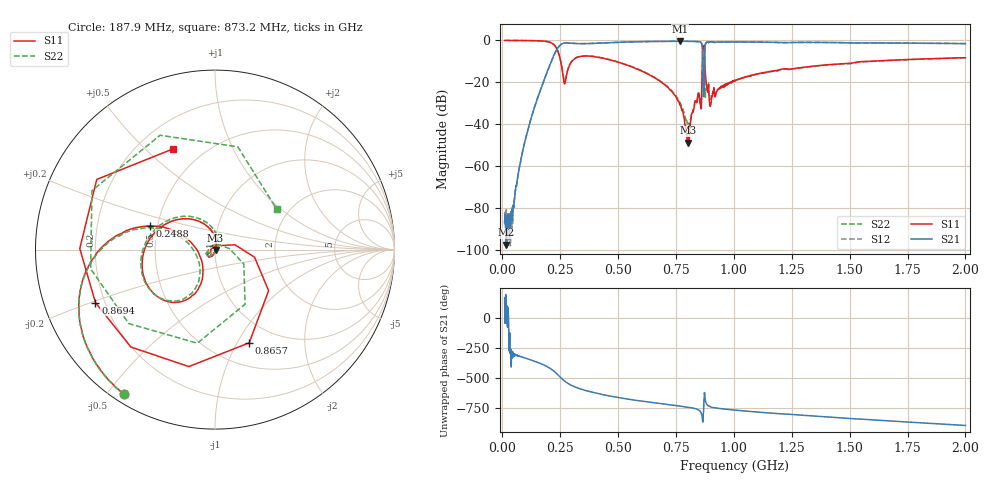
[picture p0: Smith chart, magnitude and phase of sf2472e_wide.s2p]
!Keysight Technologies,E5080A,MY55200989,A.11.70.00
!Date: Wednesday, December 19, 2018 13:17:27
!Correction: S11(Full 2 Port(1,2))
!S21(Full 2 Port(1,2))
!S12(Full 2 Port(1,2))
!S22(Full 2 Port(1,2))
!S2P File: Measurements: S11, S21, S12, S22:
# Hz S  RI  R 50
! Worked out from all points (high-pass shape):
!   1601 points, 10 MHz to 2 GHz, reference 50 ohm
!   highest |S21| = -0.39 dB at 767.4 MHz (marker M1); lowest = -97.6 dB at 14.97 MHz (marker M2)
!   |S21| within 3 dB of the highest: 241.1 MHz to 863.6 MHz (622.5 MHz wide, 113 % of centre); 875.5 MHz to end of sweep
!   lowest |S11| = -48.9 dB at 801 MHz (marker M3), VSWR 1.01, Z = 50.3 - j0.152 ohm
!   |S11| at or under -10 dB: 252.4 MHz to 300.2 MHz (47.72 MHz wide, 17.3 % of centre); 488.9 MHz to 864 MHz (375.1 MHz wide, 55.5 % of centre); 874.7 MHz to 1.58 GHz (704.8 MHz wide, 57.4 % of centre)
!   |S22| runs from -43.0 to 0.0 dB; largest |S21 - S12| = 0.0019
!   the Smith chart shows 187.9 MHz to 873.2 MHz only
!   S11 on the Smith chart (normalised r, x): 187.9 MHz: 0.03, -0.55; 248.8 MHz: 0.45, +0.14; 865.7 MHz: 0.75, -1.12; 869.4 MHz: 0.16, -0.21; 873.2 MHz: 0.34, +0.61
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1e7  0.9942 -0.1021  -4.35e-05 1.13e-05  2.32e-05 -3.53e-05  0.9943 -0.1034
1.4975e7  0.9875 -0.1537  -1.3e-05 -2.46e-06  -2.09e-05 4.67e-05  0.9879 -0.1534
4.4825e7  0.8942 -0.4454  6.44e-05 7.09e-05  1.79e-05 3.87e-05  0.8943 -0.4455
1.04525e8  0.4579 -0.8823  0.0051 0.00209  0.00509 0.0021  0.4573 -0.8827
1.878562e8  -0.5062 -0.8062  0.1131 -0.0926  0.1128 -0.0925  -0.5064 -0.8067
2.214375e8  -0.7564 -0.2744  0.0735 -0.418  0.0736 -0.4182  -0.7578 -0.2809
2.488e8  -0.3639 0.1322  -0.4835 -0.5911  -0.4838 -0.591  -0.3726 0.1216
2.711875e8  -0.0746 -0.0611  -0.8513 -0.1859  -0.8511 -0.186  -0.0914 -0.0656
3.420812e8  -0.341 -0.2463  -0.512 0.6634  -0.5125 0.6638  -0.3529 -0.2345
4.701875e8  -0.319 0.1112  0.306 0.835  0.3056 0.8354  -0.3161 0.1279
6.741625e8  -0.0227 0.1098  0.931 0.1849  0.9314 0.1843  -0.00933 0.1148
7.674438e8  0.00748 0.0273  0.9383 -0.1832  0.9375 -0.1836  0.0172 0.0272
8.01025e8  0.00325 -0.00151  0.8959 -0.3271  0.8957 -0.3267  0.0103 -0.00283
8.532625e8  -0.0279 -0.0164  0.5891 -0.7095  0.5898 -0.7092  -0.0342 -0.00885
8.657e8  0.1907 -0.5193  -0.257 -0.1922  -0.2567 -0.1922  -0.0986 -0.5217
8.694312e8  -0.6662 -0.2949  0.0246 -0.0385  0.0247 -0.0383  -0.6856 0.3286
8.731625e8  -0.2367 0.56  -0.0448 0.2418  -0.0449 0.2418  0.3444 0.2237
9.017688e8  0.0217 -0.0253  0.8693 -0.3068  0.8699 -0.307  0.0358 -0.0255
1.005e9  -0.0723 -0.0851  0.657 -0.6435  0.6571 -0.6443  -0.0662 -0.0883
1.337081e9  -0.2412 -0.00563  -0.0376 -0.8986  -0.037 -0.8989  -0.239 0.00838
1.669162e9  -0.2636 0.2073  -0.5971 -0.6313  -0.5965 -0.6312  -0.2373 0.2331
2e9  -0.0949 0.3757  -0.8332 -0.1279  -0.8321 -0.1278  -0.0393 0.3826
